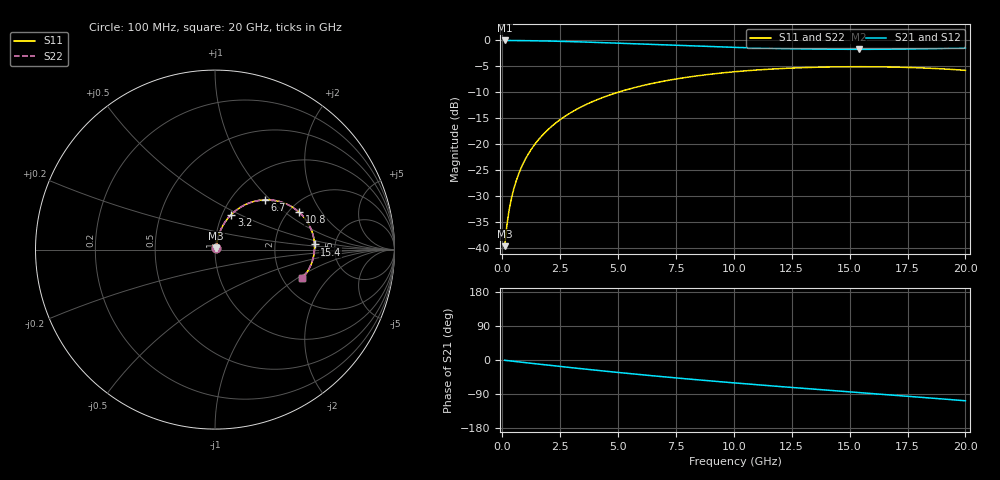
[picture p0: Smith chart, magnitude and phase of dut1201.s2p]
! Touchstone file exported from HFSS 2026.1.0
!  File:  C:/ffzhzh/LocalFiles/Ansys_Project_Files/temp_train_TSV_RDL_1201_1783318444_30076.aedt
!  Generated:  02:25:04 PM Jul  6, 2026
!  Design:  TSV_RDL
!  Project:  temp_train_TSV_RDL_1201_1783318444_30076
! Variables:
!  h_bsmrdl = 2.74um
!  h_ox = 20um
!  h_rdl = 5um
!  h_sub = 63.5um
!  h_tmrdl = 5.42um
!  h_tsv = 63.5um
!  h_via = 3um
!  l_bsmrdl = 161.89um
!  l_sub = 1942.95um
!  l_tmrdl = 229.85um
!  m_sub = 200um
!  pitch = 57.95um
!  r_tsv = 8.26um
!  s_tmrdl = 10um
!  w_bsmrdl = 28.18um
!  w_sub = 500um
!  w_tmrdl = 17.78um
!  x_tsv_center1 = 238.74um
!  x_tsv_center2 = 428.81um
!  x_tsv_center3 = 676.44um
!  x_tsv_center4 = 866.51um
!  x_tsv_center5 = 1114.14um
!  x_tsv_center6 = 1304.21um
# GHz S MA R 50.000000
! Terminal data exported
! Port[1] = TM_RDL1_1_T1
! Port[2] = TM_RDL5_1_T1
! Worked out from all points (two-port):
!   200 points, 100 MHz to 20 GHz, reference 50 ohm
!   highest |S21| = -0.06 dB at 100 MHz (marker M1); lowest = -1.8 dB at 15.4 GHz (marker M2)
!   |S21| within 3 dB of the highest: start of sweep to end of sweep
!   lowest |S11| = -39.6 dB at 100 MHz (marker M3), VSWR 1.02, Z = 50.7 + j0.755 ohm
!   |S11| at or under -10 dB: start of sweep to 5.021 GHz
!   |S22| runs from -39.6 to -5.1 dB; largest |S21 - S12| = 1.5e-13
!   S11 on the Smith chart (normalised r, x): 100 MHz: 1.01, +0.02; 3.2 GHz: 1.10, +0.45; 6.7 GHz: 1.41, +0.93; 10.8 GHz: 2.26, +1.28; 15.4 GHz: 3.47, +0.29; 20 GHz: 2.55, -1.10
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0.1  0.01042 45.6  0.9928 -0.7  0.9928 -0.7  0.01042 45.6
! Gamma 0 0 0 0
! Port Impedance 50 0 50 0
0.2  0.0167 62.1  0.9924 -1.4  0.9924 -1.4  0.0167 62.1
0.3  0.02352 68.6  0.992 -2.1  0.992 -2.1  0.02352 68.6
0.4  0.03043 71.8  0.9915 -2.8  0.9915 -2.8  0.03043 71.8
0.5  0.03734 73.6  0.9911 -3.5  0.9911 -3.5  0.03734 73.6
0.7  0.05116 75.3  0.9901 -4.9  0.9901 -4.9  0.05116 75.3
1  0.07184 75.7  0.9883 -6.9  0.9883 -6.9  0.07184 75.7
1.4  0.09921 74.7  0.9854 -9.7  0.9854 -9.7  0.09921 74.7
1.9  0.1328 72.5  0.9808 -13.1  0.9808 -13.1  0.1328 72.5
2.5  0.1719 69.2  0.9738 -17.0  0.9738 -17.0  0.1719 69.2
3.2  0.2154 65.1  0.9642 -21.6  0.9642 -21.6  0.2154 65.1
3.5  0.2333 63.3  0.9597 -23.5  0.9597 -23.5  0.2333 63.3
4.9  0.3101 55.1  0.9364 -32.3  0.9364 -32.3  0.3101 55.1
6.7  0.3923 45.0  0.9042 -42.8  0.9042 -42.8  0.3923 45.0
6.8  0.3963 44.4  0.9025 -43.4  0.9025 -43.4  0.3963 44.4
8.4  0.4528 35.9  0.8754 -52.1  0.8754 -52.1  0.4528 35.9
10.1  0.498 27.4  0.8508 -60.8  0.8508 -60.8  0.498 27.4
10.8  0.5125 24.1  0.8423 -64.3  0.8423 -64.3  0.5125 24.1
13.4  0.5473 12.0  0.8208 -76.7  0.8208 -76.7  0.5473 12.0
15.4  0.5552 3.0  0.8156 -85.9  0.8156 -85.9  0.5552 3.0
16.7  0.5519 -2.8  0.8178 -91.9  0.8178 -91.9  0.5519 -2.8
20  0.5121 -18.1  0.8419 -107.6  0.8419 -107.6  0.5121 -18.1
